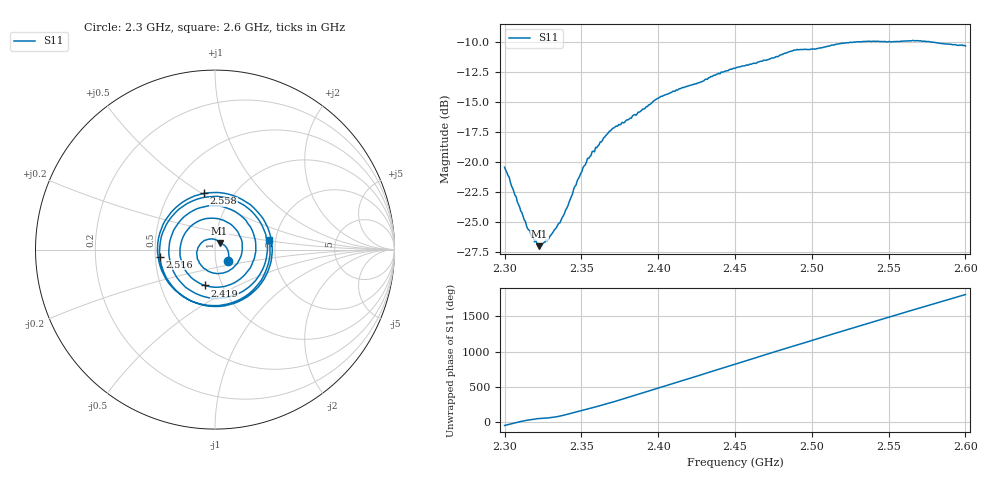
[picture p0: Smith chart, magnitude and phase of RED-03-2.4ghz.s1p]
! NanoVNA-App
! Date: 2026-05-22 18:32:58
! Start: 2.3GHz Stop: 2.6GHz Points: 401
! S-Parameter data: F S11
# Hz S RI R 50
!  Frequency  S11_Real  S11_Imag
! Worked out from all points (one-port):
!   401 points, 2.3 GHz to 2.6 GHz, reference 50 ohm
!   lowest |S11| = -27.0 dB at 2.322 GHz (marker M1), VSWR 1.09, Z = 52.4 + j3.88 ohm
!   |S11| at or under -10 dB: start of sweep to 2.527 GHz; 2.578002 GHz to 2.578678 GHz (675.9 kHz wide, 0.0262 % of centre); 2.579 GHz to end of sweep
!   S11 on the Smith chart (normalised r, x): 2.3 GHz: 1.14, -0.15; 2.419 GHz: 0.83, -0.35; 2.516 GHz: 0.53, -0.05; 2.558 GHz: 0.73, +0.51; 2.6 GHz: 1.84, +0.21
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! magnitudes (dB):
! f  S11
! 2.3 GHz  -20.4
! 2.301 GHz  -20.9
! 2.31 GHz  -23.7
! 2.316 GHz  -25.7
! 2.321 GHz  -26.8
! 2.322 GHz  -27.0
! 2.325 GHz  -26.7
! 2.329 GHz  -26.2
! 2.337 GHz  -24.6
! 2.342 GHz  -23.3
! 2.346 GHz  -21.9
! 2.353 GHz  -20.2
! 2.356 GHz  -19.5
! 2.367 GHz  -17.7
! 2.371 GHz  -17.1
! 2.375 GHz  -16.9
! 2.401 GHz  -14.6
! 2.413 GHz  -14.0
! 2.419 GHz  -13.7
! 2.45 GHz  -12.2
! 2.472 GHz  -11.4
! 2.487 GHz  -10.7
! 2.503 GHz  -10.5
! 2.516 GHz  -10.2
! 2.525 GHz  -10.0
! 2.558 GHz  -9.9
! 2.562 GHz  -9.9
! 2.6 GHz  -10.3
